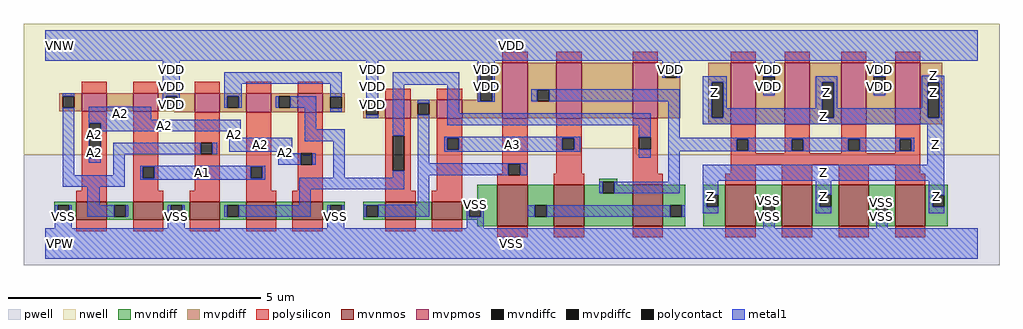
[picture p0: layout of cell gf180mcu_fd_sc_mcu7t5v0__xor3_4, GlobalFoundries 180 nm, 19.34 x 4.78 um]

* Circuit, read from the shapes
.subckt gf180mcu_fd_sc_mcu7t5v0__xor3_4 A1 A2 A3 Z VDD VNW VPW VSS
XM1 n1 A2 VSS VPW nfet_06v0 w=0.36u l=0.6u
XM2 VSS A1 n1 VPW nfet_06v0 w=0.36u l=0.6u
XM3 n2 n1 VSS VPW nfet_06v0 w=0.36u l=0.6u
XM4 n3 A1 n2 VPW nfet_06v0 w=0.36u l=0.6u
XM5 VSS A2 n3 VPW nfet_06v0 w=0.36u l=0.6u
XM6 n4 n2 n5 VPW nfet_06v0 w=0.36u l=0.6u
XM7 VSS A3 n4 VPW nfet_06v0 w=0.36u l=0.6u
XM8 n6 n5 VSS VPW nfet_06v0 w=0.82u l=0.6u
XM9 n7 A3 n6 VPW nfet_06v0 w=0.82u l=0.6u
XM10 n6 n2 n7 VPW nfet_06v0 w=0.82u l=0.6u
XM11 VSS n7 Z VPW nfet_06v0 w=0.82u l=0.6u m=4
XM12 n8 A2 n1 VNW pfet_06v0 w=0.36u l=0.5u
XM13 VDD A1 n8 VNW pfet_06v0 w=0.36u l=0.5u
XM14 n9 n1 VDD VNW pfet_06v0 w=0.385u l=0.5u
XM15 n2 A1 n9 VNW pfet_06v0 w=0.385u l=0.5u
XM16 n9 A2 n2 VNW pfet_06v0 w=0.385u l=0.5u
XM17 n5 n2 VDD VNW pfet_06v0 w=0.36u l=0.5u
XM18 VDD A3 n5 VNW pfet_06v0 w=0.36u l=0.5u
XM19 n7 n5 VDD VNW pfet_06v0 w=1.095u l=0.5u
XM20 n10 A3 n7 VNW pfet_06v0 w=1.095u l=0.5u
XM21 VDD n2 n10 VNW pfet_06v0 w=1.095u l=0.5u
XM22 VDD n7 Z VNW pfet_06v0 w=1.22u l=0.5u m=4
.ends

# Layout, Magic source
magic
tech gf180mcuD
magscale 1 10
<< nwell >>
rect -86 377 3782 870
rect -86 352 2122 377
rect 2342 352 3782 377
<< pwell >>
rect 2122 352 2342 377
rect -86 -86 3782 352
<< mvnmos >>
rect 124 93 244 165
rect 348 93 468 165
rect 572 93 692 165
rect 796 93 916 165
rect 980 93 1100 165
rect 1348 93 1468 165
rect 1532 93 1652 165
rect 1792 68 1912 232
rect 2016 68 2136 232
rect 2328 68 2448 232
rect 2696 68 2816 232
rect 2920 68 3040 232
rect 3144 68 3264 232
rect 3368 68 3488 232
<< mvpmos >>
rect 144 524 244 596
rect 348 524 448 596
rect 592 519 692 596
rect 796 519 896 596
rect 1000 519 1100 596
rect 1348 497 1448 569
rect 1552 497 1652 569
rect 1812 497 1912 716
rect 2026 497 2126 716
rect 2328 497 2428 716
rect 2716 472 2816 716
rect 2930 472 3030 716
rect 3154 472 3254 716
rect 3368 472 3468 716
<< mvndiff >>
rect 2196 244 2268 257
rect 2196 232 2209 244
rect 1712 165 1792 232
rect 36 152 124 165
rect 36 106 49 152
rect 95 106 124 152
rect 36 93 124 106
rect 244 152 348 165
rect 244 106 273 152
rect 319 106 348 152
rect 244 93 348 106
rect 468 152 572 165
rect 468 106 497 152
rect 543 106 572 152
rect 468 93 572 106
rect 692 152 796 165
rect 692 106 721 152
rect 767 106 796 152
rect 692 93 796 106
rect 916 93 980 165
rect 1100 152 1188 165
rect 1100 106 1129 152
rect 1175 106 1188 152
rect 1100 93 1188 106
rect 1260 152 1348 165
rect 1260 106 1273 152
rect 1319 106 1348 152
rect 1260 93 1348 106
rect 1468 93 1532 165
rect 1652 152 1792 165
rect 1652 106 1681 152
rect 1727 106 1792 152
rect 1652 93 1792 106
rect 1712 68 1792 93
rect 1912 152 2016 232
rect 1912 106 1941 152
rect 1987 106 2016 152
rect 1912 68 2016 106
rect 2136 198 2209 232
rect 2255 232 2268 244
rect 2255 198 2328 232
rect 2136 68 2328 198
rect 2448 152 2536 232
rect 2448 106 2477 152
rect 2523 106 2536 152
rect 2448 68 2536 106
rect 2608 192 2696 232
rect 2608 146 2621 192
rect 2667 146 2696 192
rect 2608 68 2696 146
rect 2816 152 2920 232
rect 2816 106 2845 152
rect 2891 106 2920 152
rect 2816 68 2920 106
rect 3040 192 3144 232
rect 3040 146 3069 192
rect 3115 146 3144 192
rect 3040 68 3144 146
rect 3264 155 3368 232
rect 3264 109 3293 155
rect 3339 109 3368 155
rect 3264 68 3368 109
rect 3488 191 3576 232
rect 3488 145 3517 191
rect 3563 145 3576 191
rect 3488 68 3576 145
<< mvpdiff >>
rect 1712 703 1812 716
rect 56 583 144 596
rect 56 537 69 583
rect 115 537 144 583
rect 56 524 144 537
rect 244 524 348 596
rect 448 583 592 596
rect 448 537 477 583
rect 523 537 592 583
rect 448 524 592 537
rect 512 519 592 524
rect 692 583 796 596
rect 692 537 721 583
rect 767 537 796 583
rect 692 519 796 537
rect 896 583 1000 596
rect 896 537 925 583
rect 971 537 1000 583
rect 896 519 1000 537
rect 1100 582 1188 596
rect 1100 536 1129 582
rect 1175 536 1188 582
rect 1712 569 1725 703
rect 1100 519 1188 536
rect 1260 556 1348 569
rect 1260 510 1273 556
rect 1319 510 1348 556
rect 1260 497 1348 510
rect 1448 556 1552 569
rect 1448 510 1477 556
rect 1523 510 1552 556
rect 1448 497 1552 510
rect 1652 563 1725 569
rect 1771 563 1812 703
rect 1652 497 1812 563
rect 1912 609 2026 716
rect 1912 563 1951 609
rect 1997 563 2026 609
rect 1912 497 2026 563
rect 2126 497 2328 716
rect 2428 703 2516 716
rect 2428 657 2457 703
rect 2503 657 2516 703
rect 2428 497 2516 657
rect 2628 639 2716 716
rect 2628 499 2641 639
rect 2687 499 2716 639
rect 2628 472 2716 499
rect 2816 661 2930 716
rect 2816 615 2845 661
rect 2891 615 2930 661
rect 2816 472 2930 615
rect 3030 639 3154 716
rect 3030 499 3079 639
rect 3125 499 3154 639
rect 3030 472 3154 499
rect 3254 661 3368 716
rect 3254 615 3283 661
rect 3329 615 3368 661
rect 3254 472 3368 615
rect 3468 639 3556 716
rect 3468 499 3497 639
rect 3543 499 3556 639
rect 3468 472 3556 499
<< mvndiffc >>
rect 49 106 95 152
rect 273 106 319 152
rect 497 106 543 152
rect 721 106 767 152
rect 1129 106 1175 152
rect 1273 106 1319 152
rect 1681 106 1727 152
rect 1941 106 1987 152
rect 2209 198 2255 244
rect 2477 106 2523 152
rect 2621 146 2667 192
rect 2845 106 2891 152
rect 3069 146 3115 192
rect 3293 109 3339 155
rect 3517 145 3563 191
<< mvpdiffc >>
rect 69 537 115 583
rect 477 537 523 583
rect 721 537 767 583
rect 925 537 971 583
rect 1129 536 1175 582
rect 1273 510 1319 556
rect 1477 510 1523 556
rect 1725 563 1771 703
rect 1951 563 1997 609
rect 2457 657 2503 703
rect 2641 499 2687 639
rect 2845 615 2891 661
rect 3079 499 3125 639
rect 3283 615 3329 661
rect 3497 499 3543 639
<< polysilicon >>
rect 1812 716 1912 760
rect 2026 716 2126 760
rect 2328 716 2428 760
rect 2716 716 2816 760
rect 2930 716 3030 760
rect 3154 716 3254 760
rect 3368 716 3468 760
rect 144 596 244 640
rect 348 596 448 640
rect 592 596 692 640
rect 796 596 896 640
rect 1000 596 1100 640
rect 144 477 244 524
rect 144 337 174 477
rect 220 337 244 477
rect 144 209 244 337
rect 124 165 244 209
rect 348 304 448 524
rect 1348 569 1448 613
rect 1552 569 1652 613
rect 348 258 387 304
rect 433 258 448 304
rect 348 209 448 258
rect 592 399 692 519
rect 592 353 617 399
rect 663 353 692 399
rect 592 209 692 353
rect 348 165 468 209
rect 572 165 692 209
rect 796 304 896 519
rect 796 258 815 304
rect 861 258 896 304
rect 796 209 896 258
rect 1000 358 1100 519
rect 1000 312 1013 358
rect 1059 312 1100 358
rect 1000 209 1100 312
rect 796 165 916 209
rect 980 165 1100 209
rect 1348 427 1448 497
rect 1348 287 1377 427
rect 1423 287 1448 427
rect 1348 209 1448 287
rect 1552 417 1652 497
rect 1552 371 1593 417
rect 1639 371 1652 417
rect 1552 209 1652 371
rect 1812 316 1912 497
rect 1812 276 1836 316
rect 1792 270 1836 276
rect 1882 270 1912 316
rect 2026 417 2126 497
rect 2026 371 2050 417
rect 2096 371 2126 417
rect 2026 276 2126 371
rect 2328 420 2428 497
rect 2328 374 2353 420
rect 2399 374 2428 420
rect 2328 276 2428 374
rect 2716 413 2816 472
rect 2716 367 2740 413
rect 2786 367 2816 413
rect 2716 357 2816 367
rect 2930 413 3030 472
rect 2930 367 2959 413
rect 3005 367 3030 413
rect 2930 357 3030 367
rect 3154 413 3254 472
rect 3154 367 3182 413
rect 3228 367 3254 413
rect 3154 357 3254 367
rect 3368 413 3468 472
rect 3368 367 3387 413
rect 3433 367 3468 413
rect 3368 357 3468 367
rect 2716 311 3468 357
rect 2716 276 2816 311
rect 1792 232 1912 270
rect 2016 232 2136 276
rect 1348 165 1468 209
rect 1532 165 1652 209
rect 124 49 244 93
rect 348 49 468 93
rect 572 49 692 93
rect 796 49 916 93
rect 980 49 1100 93
rect 1348 49 1468 93
rect 1532 49 1652 93
rect 2328 232 2448 276
rect 2696 232 2816 276
rect 2920 232 3040 311
rect 3144 232 3264 311
rect 3368 276 3468 311
rect 3368 232 3488 276
rect 1792 24 1912 68
rect 2016 24 2136 68
rect 2328 24 2448 68
rect 2696 24 2816 68
rect 2920 24 3040 68
rect 3144 24 3264 68
rect 3368 24 3488 68
<< polycontact >>
rect 174 337 220 477
rect 387 258 433 304
rect 617 353 663 399
rect 815 258 861 304
rect 1013 312 1059 358
rect 1377 287 1423 427
rect 1593 371 1639 417
rect 1836 270 1882 316
rect 2050 371 2096 417
rect 2353 374 2399 420
rect 2740 367 2786 413
rect 2959 367 3005 413
rect 3182 367 3228 413
rect 3387 367 3433 413
<< metal1 >>
rect 0 724 3696 844
rect 69 583 115 596
rect 466 583 534 724
rect 69 271 115 537
rect 173 491 420 542
rect 466 537 477 583
rect 523 537 534 583
rect 710 632 1175 678
rect 710 583 778 632
rect 710 537 721 583
rect 767 537 778 583
rect 914 537 925 583
rect 971 537 1074 583
rect 173 477 775 491
rect 173 337 174 477
rect 220 445 775 477
rect 220 337 221 445
rect 729 419 775 445
rect 1028 452 1074 537
rect 1129 582 1175 632
rect 1129 522 1175 536
rect 1273 556 1319 724
rect 1714 703 1782 724
rect 1273 497 1319 510
rect 1377 628 1641 678
rect 173 320 221 337
rect 270 353 617 399
rect 663 353 682 399
rect 729 364 979 419
rect 1028 405 1187 452
rect 923 358 979 364
rect 270 271 316 353
rect 923 312 1013 358
rect 1059 312 1072 358
rect 69 224 316 271
rect 376 304 872 307
rect 376 258 387 304
rect 433 258 815 304
rect 861 258 872 304
rect 1141 261 1187 405
rect 1377 427 1423 628
rect 1377 261 1423 287
rect 376 253 872 258
rect 167 152 217 224
rect 1007 215 1423 261
rect 1477 556 1523 569
rect 1477 317 1523 510
rect 1594 515 1641 628
rect 1714 563 1725 703
rect 1771 563 1782 703
rect 2446 703 2514 724
rect 2446 657 2457 703
rect 2503 657 2514 703
rect 2605 639 2701 663
rect 1927 609 2515 610
rect 1927 563 1951 609
rect 1997 563 2515 609
rect 1714 561 1782 563
rect 1594 469 2399 515
rect 1582 417 2120 423
rect 1582 371 1593 417
rect 1639 371 2050 417
rect 2096 371 2120 417
rect 1582 364 2120 371
rect 2353 420 2399 469
rect 2353 339 2399 374
rect 2469 419 2515 563
rect 2605 499 2641 639
rect 2687 536 2701 639
rect 2845 661 2891 724
rect 2845 588 2891 615
rect 3053 639 3138 663
rect 3053 536 3079 639
rect 2687 499 3079 536
rect 3125 536 3138 639
rect 3283 661 3329 724
rect 3283 588 3329 615
rect 3474 639 3563 665
rect 3474 536 3497 639
rect 3125 499 3497 536
rect 3543 499 3563 639
rect 2605 472 3563 499
rect 2469 413 3445 419
rect 2469 367 2740 413
rect 2786 367 2959 413
rect 3005 367 3182 413
rect 3228 367 3387 413
rect 3433 367 3445 413
rect 2469 365 3445 367
rect 1477 316 1911 317
rect 1477 270 1836 316
rect 1882 270 1911 316
rect 1007 152 1053 215
rect 1477 153 1523 270
rect 2469 244 2515 365
rect 3496 312 3563 472
rect 2196 198 2209 244
rect 2255 198 2515 244
rect 2605 248 3563 312
rect 2605 192 2667 248
rect 1262 152 1523 153
rect 38 106 49 152
rect 95 106 106 152
rect 167 106 273 152
rect 319 106 330 152
rect 486 106 497 152
rect 543 106 554 152
rect 710 106 721 152
rect 767 106 1053 152
rect 1118 106 1129 152
rect 1175 106 1186 152
rect 1262 106 1273 152
rect 1319 106 1523 152
rect 1670 152 1738 155
rect 1670 106 1681 152
rect 1727 106 1738 152
rect 1912 106 1941 152
rect 1987 106 2477 152
rect 2523 106 2536 152
rect 2605 146 2621 192
rect 3053 192 3115 248
rect 2605 120 2667 146
rect 2845 152 2891 170
rect 3053 146 3069 192
rect 3501 191 3563 248
rect 3053 120 3115 146
rect 3293 155 3339 168
rect 38 60 106 106
rect 486 60 554 106
rect 1118 60 1186 106
rect 1670 60 1738 106
rect 2845 60 2891 106
rect 3501 145 3517 191
rect 3501 120 3563 145
rect 3293 60 3339 109
rect 0 -60 3696 60
<< labels >>
flabel metal1 s 1582 364 2120 423 0 FreeSans 400 0 0 0 A3
port 3 nsew default input
flabel metal1 s 0 724 3696 844 0 FreeSans 400 0 0 0 VDD
port 5 nsew power bidirectional abutment
flabel metal1 s 2845 168 2891 170 0 FreeSans 400 0 0 0 VSS
port 8 nsew ground bidirectional abutment
flabel metal1 s 3474 663 3563 665 0 FreeSans 400 0 0 0 Z
port 4 nsew default output
flabel metal1 s 376 253 872 307 0 FreeSans 400 0 0 0 A1
port 1 nsew default input
flabel metal1 s 173 491 420 542 0 FreeSans 400 0 0 0 A2
port 2 nsew default input
flabel nwell s 10 734 110 834 0 FreeSans 400 0 0 0 VNW
port 6 nsew power bidirectional
flabel pwell s 10 -50 110 50 0 FreeSans 400 0 0 0 VPW
port 7 nsew ground bidirectional
rlabel metal1 s 173 445 775 491 1 A2
port 2 nsew default input
rlabel metal1 s 729 419 775 445 1 A2
port 2 nsew default input
rlabel metal1 s 173 419 221 445 1 A2
port 2 nsew default input
rlabel metal1 s 729 364 979 419 1 A2
port 2 nsew default input
rlabel metal1 s 173 364 221 419 1 A2
port 2 nsew default input
rlabel metal1 s 923 358 979 364 1 A2
port 2 nsew default input
rlabel metal1 s 173 358 221 364 1 A2
port 2 nsew default input
rlabel metal1 s 923 320 1072 358 1 A2
port 2 nsew default input
rlabel metal1 s 173 320 221 358 1 A2
port 2 nsew default input
rlabel metal1 s 923 312 1072 320 1 A2
port 2 nsew default input
rlabel metal1 s 3474 536 3563 663 1 Z
port 4 nsew default output
rlabel metal1 s 3053 536 3138 663 1 Z
port 4 nsew default output
rlabel metal1 s 2605 536 2701 663 1 Z
port 4 nsew default output
rlabel metal1 s 2605 472 3563 536 1 Z
port 4 nsew default output
rlabel metal1 s 3496 312 3563 472 1 Z
port 4 nsew default output
rlabel metal1 s 2605 248 3563 312 1 Z
port 4 nsew default output
rlabel metal1 s 3501 120 3563 248 1 Z
port 4 nsew default output
rlabel metal1 s 3053 120 3115 248 1 Z
port 4 nsew default output
rlabel metal1 s 2605 120 2667 248 1 Z
port 4 nsew default output
rlabel metal1 s 3283 657 3329 724 1 VDD
port 5 nsew power bidirectional abutment
rlabel metal1 s 2845 657 2891 724 1 VDD
port 5 nsew power bidirectional abutment
rlabel metal1 s 2446 657 2514 724 1 VDD
port 5 nsew power bidirectional abutment
rlabel metal1 s 1714 657 1782 724 1 VDD
port 5 nsew power bidirectional abutment
rlabel metal1 s 1273 657 1319 724 1 VDD
port 5 nsew power bidirectional abutment
rlabel metal1 s 466 657 534 724 1 VDD
port 5 nsew power bidirectional abutment
rlabel metal1 s 3283 588 3329 657 1 VDD
port 5 nsew power bidirectional abutment
rlabel metal1 s 2845 588 2891 657 1 VDD
port 5 nsew power bidirectional abutment
rlabel metal1 s 1714 588 1782 657 1 VDD
port 5 nsew power bidirectional abutment
rlabel metal1 s 1273 588 1319 657 1 VDD
port 5 nsew power bidirectional abutment
rlabel metal1 s 466 588 534 657 1 VDD
port 5 nsew power bidirectional abutment
rlabel metal1 s 1714 561 1782 588 1 VDD
port 5 nsew power bidirectional abutment
rlabel metal1 s 1273 561 1319 588 1 VDD
port 5 nsew power bidirectional abutment
rlabel metal1 s 466 561 534 588 1 VDD
port 5 nsew power bidirectional abutment
rlabel metal1 s 1273 537 1319 561 1 VDD
port 5 nsew power bidirectional abutment
rlabel metal1 s 466 537 534 561 1 VDD
port 5 nsew power bidirectional abutment
rlabel metal1 s 1273 497 1319 537 1 VDD
port 5 nsew power bidirectional abutment
rlabel metal1 s 3293 155 3339 168 1 VSS
port 8 nsew ground bidirectional abutment
rlabel metal1 s 2845 155 2891 168 1 VSS
port 8 nsew ground bidirectional abutment
rlabel metal1 s 3293 152 3339 155 1 VSS
port 8 nsew ground bidirectional abutment
rlabel metal1 s 2845 152 2891 155 1 VSS
port 8 nsew ground bidirectional abutment
rlabel metal1 s 1670 152 1738 155 1 VSS
port 8 nsew ground bidirectional abutment
rlabel metal1 s 3293 60 3339 152 1 VSS
port 8 nsew ground bidirectional abutment
rlabel metal1 s 2845 60 2891 152 1 VSS
port 8 nsew ground bidirectional abutment
rlabel metal1 s 1670 60 1738 152 1 VSS
port 8 nsew ground bidirectional abutment
rlabel metal1 s 1118 60 1186 152 1 VSS
port 8 nsew ground bidirectional abutment
rlabel metal1 s 486 60 554 152 1 VSS
port 8 nsew ground bidirectional abutment
rlabel metal1 s 38 60 106 152 1 VSS
port 8 nsew ground bidirectional abutment
rlabel metal1 s 0 -60 3696 60 1 VSS
port 8 nsew ground bidirectional abutment
<< properties >>
string FIXED_BBOX 0 0 3696 784
string GDS_END 392658
string GDS_FILE $PDKPATH/libs.ref/gf180mcu_fd_sc_mcu7t5v0/gds/gf180mcu_fd_sc_mcu7t5v0.gds
string GDS_START 384626
string LEFclass core
string LEFsite GF018hv5v_mcu_sc7
string LEFsymmetry X Y
<< end >>
